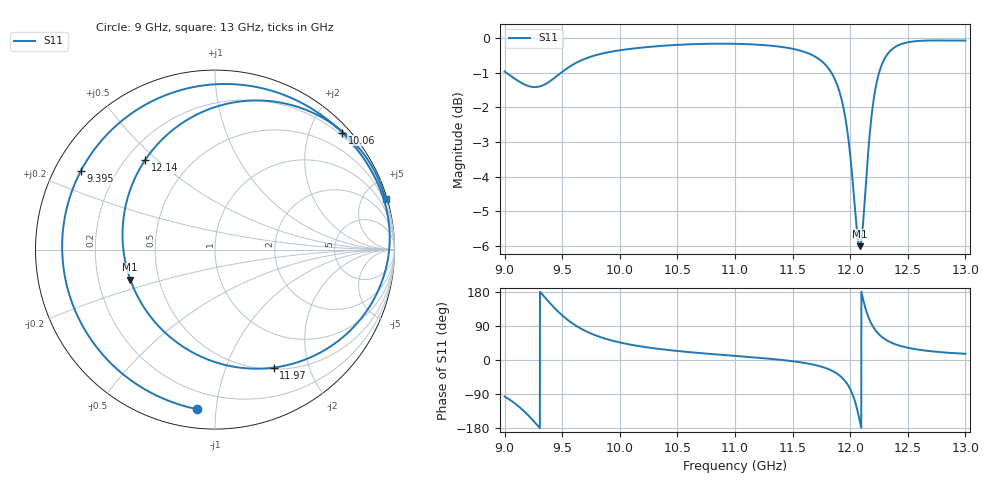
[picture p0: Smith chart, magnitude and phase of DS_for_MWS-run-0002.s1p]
! TOUCHSTONE file generated by CST DESIGN STUDIO
! Date and time: Tue Feb  4 16:29:35 2025
! Project name: C:\Work\MatlabApps\UnitCellOptimizationMatlab\CST\unitcell.cst
! Tree item: Tasks\Sweep1\SPara1\S-Parameters
! Header version: 2024
! Port assignment regex: !\s*Touchstone port\s*([0-9]+)\s*=\s*(CST MWS port|CST DES external port|CST DES block port)\s*(.+)\s* \(\"(.*)\"\)(\s*mode\s*([0-9]+))?.*
! Touchstone port assignment:
! Touchstone port 1 = CST DES external port 1 ("")
# GHz S MA R 50
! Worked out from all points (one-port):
!   4001 points, 9 GHz to 13 GHz, reference 50 ohm
!   lowest |S11| = -6.0 dB at 12.08 GHz (marker M1), VSWR 3.01, Z = 17.1 - j7.64 ohm
!   |S11| at or under -10 dB: nowhere
!   S11 on the Smith chart (normalised r, x): 9 GHz: 0.10, -0.89; 9.395 GHz: 0.08, +0.27; 10.06 GHz: 0.14, +2.56; 11.97 GHz: 0.52, -1.49; 12.14 GHz: 0.28, +0.46; 13 GHz: 0.21, +6.94
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9  0.8947 -96.5
9.132  0.8641 -125.1
9.251  0.8496 -160.8
9.323  0.8532 174.4
9.395  0.8664 149.6
9.5  0.8935 117.8
9.601  0.9169 94.1
9.733  0.938 72.1
10  0.96 46.3
10.057  0.9629 42.6
10.5  0.9774 23.8
11  0.9809 10.8
11.5  0.9648 -3.2
11.696  0.9398 -13.3
11.821  0.8995 -25.4
11.908  0.8355 -41.0
11.975  0.7347 -63.5
12  0.678 -76.7
12.042  0.5653 -109.9
12.083  0.5007 -160.4
12.111  0.5384 161.3
12.141  0.6328 128.0
12.169  0.7252 105.3
12.2  0.8069 87.2
12.29  0.9277 57.3
12.378  0.9675 43.1
12.5  0.9857 32.3
13  0.9915 16.4
